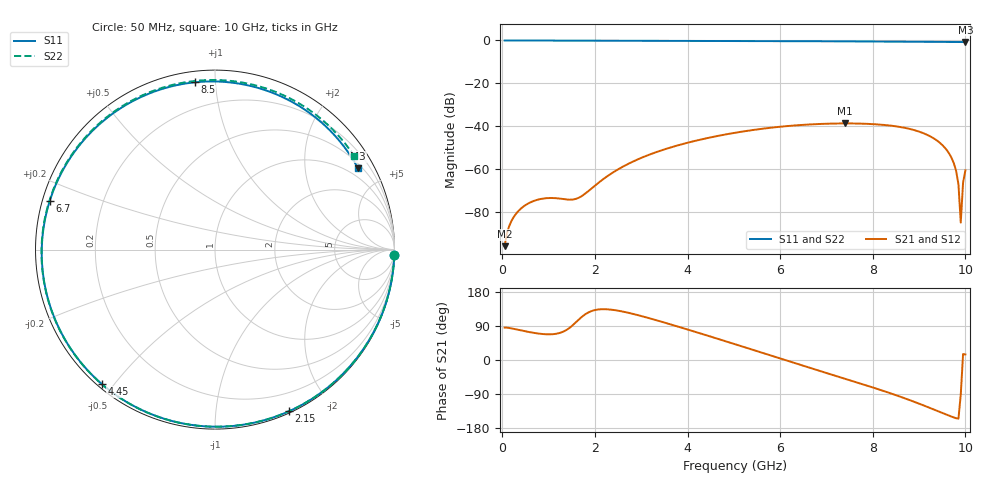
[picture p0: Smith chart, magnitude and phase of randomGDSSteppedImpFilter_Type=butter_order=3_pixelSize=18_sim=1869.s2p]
! freq	dB(S11)	phase(S11)	dB(S12)	phase(S12)
!  dB(S21)	phase(S21)	dB(S22)	phase(S22)
!S-par simulation data
#  GHz  S  DB  R 50
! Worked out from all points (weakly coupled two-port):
!   200 points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, 50 MHz to 10 GHz, reference 50 ohm
!   highest |S21| = -38.78 dB at 7.4 GHz (marker M1); lowest = -96.1 dB at 50 MHz (marker M2)
!   lowest |S11| = -0.8 dB at 10 GHz (marker M3), VSWR 22.92, Z = 32.5 + j184 ohm
!   |S11| at or under -10 dB: nowhere
!   |S22| runs from -0.6 to 0.0 dB; largest |S21 - S12| = 0
!   S11 on the Smith chart (normalised r, x): 50 MHz: 1, -72; 2.15 GHz: 0.02, -1.55; 4.45 GHz: 0.01, -0.46; 6.7 GHz: 0.02, +0.14; 8.5 GHz: 0.06, +0.89; 10 GHz: 0.65, +3.68
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0.05  -0.00 -1.6  -96.14 85.5  -96.14 85.5  -0.00 -1.7
0.35  -0.01 -11.0  -79.66 79.5  -79.66 79.5  -0.01 -11.4
0.8  -0.03 -24.9  -74.23 69.5  -74.23 69.5  -0.03 -25.9
1.5  -0.06 -46.2  -74.38 89.5  -74.38 89.5  -0.06 -48.1
1.75  -0.07 -53.7  -72.23 117.0  -72.23 117.0  -0.07 -55.8
2.15  -0.08 -65.5  -65.30 134.0  -65.30 134.0  -0.09 -68.1
2.7  -0.10 -81.4  -57.89 125.2  -57.89 125.2  -0.11 -84.6
3.4  -0.13 -101.1  -51.63 102.4  -51.63 102.4  -0.14 -105.1
4.45  -0.18 -130.2  -45.52 63.7  -45.52 63.7  -0.19 -135.3
5.05  -0.22 -147.0  -43.06 40.8  -43.06 40.8  -0.23 -152.6
5.9  -0.28 -171.5  -40.55 7.8  -40.55 7.8  -0.29 -177.9
6.7  -0.36 163.6  -39.19 -23.0  -39.19 -23.0  -0.35 156.9
7.4  -0.43 139.7  -38.78 -49.5  -38.78 -49.5  -0.41 133.3
8.35  -0.53 103.1  -39.72 -86.5  -39.72 -86.5  -0.48 98.5
8.5  -0.55 96.9  -40.14 -92.8  -40.14 -92.8  -0.49 92.8
9.2  -0.64 66.3  -44.38 -124.8  -44.38 -124.8  -0.53 65.4
9.6  -0.69 48.0  -51.31 -144.5  -51.31 -144.5  -0.56 49.5
9.8  -0.73 38.8  -60.97 -153.7  -60.97 -153.7  -0.58 41.7
9.85  -0.73 36.5  -67.22 -154.8  -67.22 -154.8  -0.58 39.7
9.9  -0.74 34.2  -85.12 -91.5  -85.12 -91.5  -0.58 37.8
9.95  -0.75 31.9  -66.45 15.8  -66.45 15.8  -0.59 35.8
10  -0.76 29.6  -60.68 14.5  -60.68 14.5  -0.59 33.9
